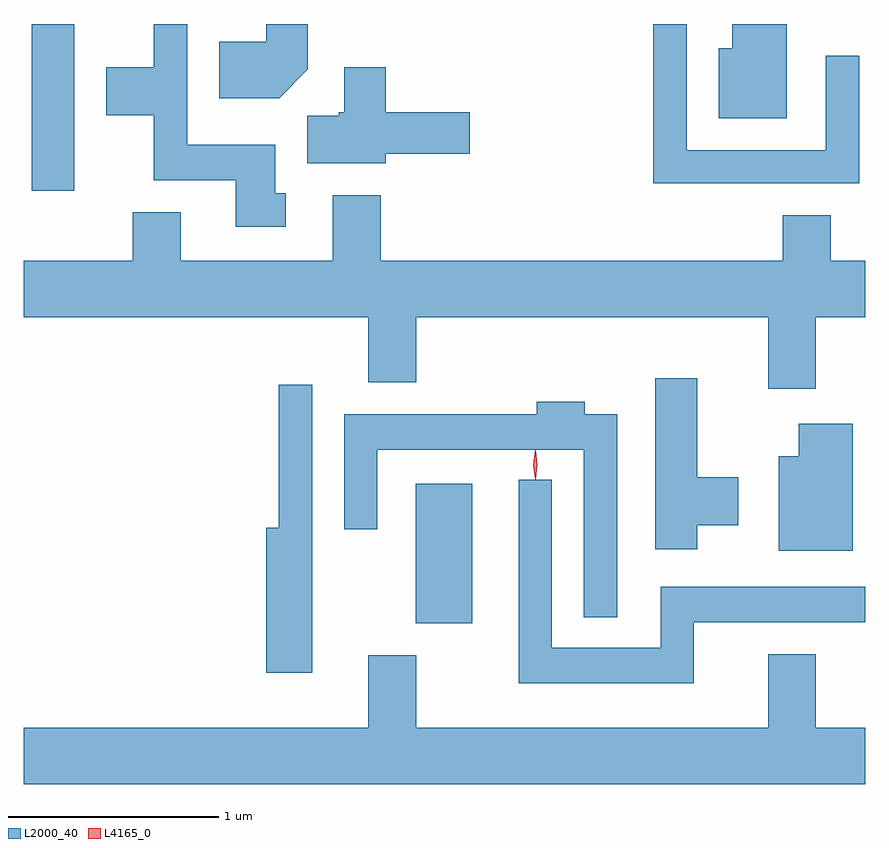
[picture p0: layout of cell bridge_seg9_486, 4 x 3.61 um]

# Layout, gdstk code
import gdstk
lib = gdstk.Library(unit=1e-6, precision=1e-09)
def R(c, l, rs):  # rectangles x0, y0, x1, y1
    for r in rs: c.add(gdstk.rectangle(r[:2], r[2:], *l))
def P(c, l, *ps):  # polygons
    for p in ps: c.add(gdstk.Polygon(p, *l))
L2000_40 = (2000, 40)
L4165_0 = (4165, 0)

bridge_seg9_486 = lib.new_cell('bridge_seg9_486')
R(bridge_seg9_486, L2000_40, [(549.006,1972.601,549.274,1973.264), (547.181,1974.656,547.384,1975.449)])
P(bridge_seg9_486, L2000_40, [(548.494,1975.234),(548.494,1975.449),(548.296,1975.449),(548.296,1975.364),(548.071,1975.364),(548.071,1975.096),(548.357,1975.096)],
  [(548.388,1974.644),(548.339,1974.644),(548.339,1974.874),(547.919,1974.874),(547.919,1975.449),(547.761,1975.449),(547.761,1975.244),(547.536,1975.244),(547.536,1975.016),(547.761,1975.016),(547.761,1974.706),(548.151,1974.706),(548.151,1974.486),(548.388,1974.486)],
  [(551.114,1975.298),(550.956,1975.298),(550.956,1974.849),(550.294,1974.849),(550.294,1975.449),(550.136,1975.449),(550.136,1974.691),(551.114,1974.691)],
  [(550.769,1975.449),(550.511,1975.449),(550.511,1975.334),(550.446,1975.334),(550.446,1975.001),(550.769,1975.001)],
  [(548.864,1974.831),(549.264,1974.831),(549.264,1975.029),(548.864,1975.029),(548.864,1975.244),(548.666,1975.244),(548.666,1975.029),(548.64,1975.029),(548.64,1975.014),(548.491,1975.014),(548.491,1974.786),(548.864,1974.786)],
  [(550.909,1974.056),(551.143,1974.056),(551.143,1974.324),(550.979,1974.324),(550.979,1974.539),(550.751,1974.539),(550.751,1974.324),(548.839,1974.324),(548.839,1974.634),(548.611,1974.634),(548.611,1974.324),(547.889,1974.324),(547.889,1974.554),(547.661,1974.554),(547.661,1974.324),(547.143,1974.324),(547.143,1974.056),(548.781,1974.056),(548.781,1973.746),(549.009,1973.746),(549.009,1974.056),(550.681,1974.056),(550.681,1973.716),(550.909,1973.716)],
  [(550.344,1973.066),(550.539,1973.066),(550.539,1973.294),(550.344,1973.294),(550.344,1973.764),(550.146,1973.764),(550.146,1972.951),(550.344,1972.951)],
  [(548.514,1973.733),(548.356,1973.733),(548.356,1973.054),(548.296,1973.054),(548.296,1972.366),(548.514,1972.366)],
  [(549.964,1973.594),(549.809,1973.594),(549.809,1973.654),(549.581,1973.654),(549.581,1973.594),(548.666,1973.594),(548.666,1973.048),(548.824,1973.048),(548.824,1973.426),(549.806,1973.426),(549.806,1972.628),(549.964,1972.628)],
  [(551.084,1973.549),(550.826,1973.549),(550.826,1973.394),(550.731,1973.394),(550.731,1972.946),(551.084,1972.946)],
  [(550.329,1972.606),(551.143,1972.606),(551.143,1972.774),(550.171,1972.774),(550.171,1972.484),(549.654,1972.484),(549.654,1973.283),(549.496,1973.283),(549.496,1972.316),(550.329,1972.316)],
  [(551.143,1972.104),(550.909,1972.104),(550.909,1972.454),(550.681,1972.454),(550.681,1972.104),(549.009,1972.104),(549.009,1972.449),(548.781,1972.449),(548.781,1972.104),(547.143,1972.104),(547.143,1971.836),(551.143,1971.836)])
P(bridge_seg9_486, L4165_0, [(549.574,1973.284),(549.565,1973.353),(549.574,1973.422),(549.575,1973.423),(549.576,1973.422),(549.585,1973.353),(549.576,1973.284),(549.575,1973.284)],
  [(549.575,1973.287),(549.574,1973.288),(549.565,1973.354),(549.574,1973.42),(549.574,1973.42),(549.575,1973.42),(549.584,1973.354),(549.575,1973.288)])

lib.write_gds('bridge_seg9_486.gds')
